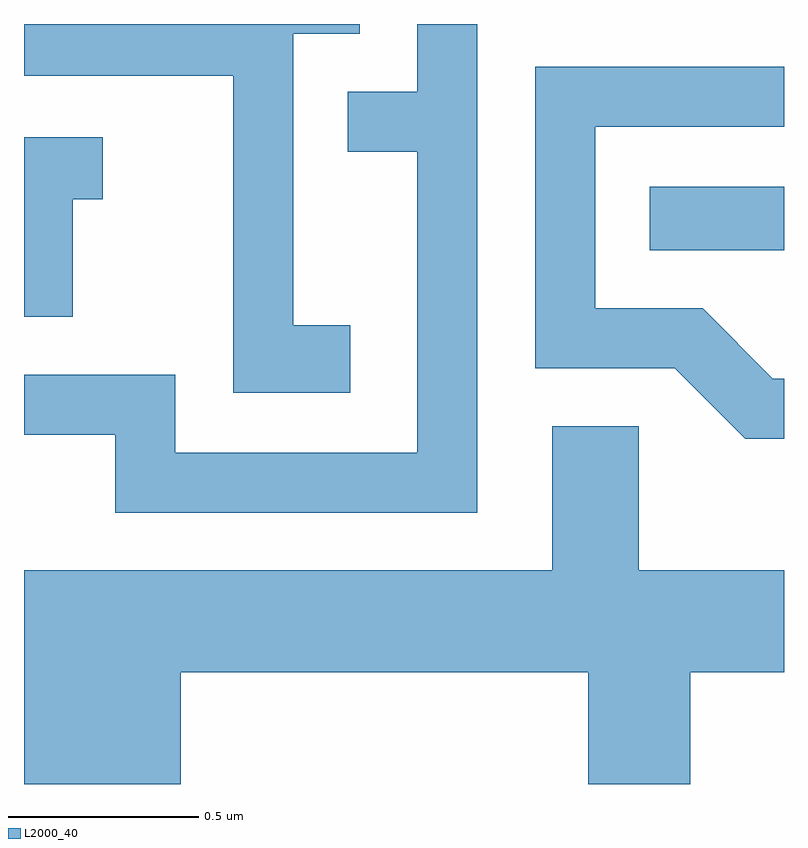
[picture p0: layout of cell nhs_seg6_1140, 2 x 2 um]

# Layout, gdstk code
import gdstk
lib = gdstk.Library(unit=1e-6, precision=1e-09)
def R(c, l, rs):  # rectangles x0, y0, x1, y1
    for r in rs: c.add(gdstk.rectangle(r[:2], r[2:], *l))
def P(c, l, *ps):  # polygons
    for p in ps: c.add(gdstk.Polygon(p, *l))
L2000_40 = (2000, 40)

nhs_seg6_1140 = lib.new_cell('nhs_seg6_1140')
R(nhs_seg6_1140, L2000_40, [(195.258,1575.566,195.611,1575.734)])
P(nhs_seg6_1140, L2000_40, [(194.804,1576.162),(194.646,1576.162),(194.646,1575.984),(194.463,1575.984),(194.463,1575.826),(194.646,1575.826),(194.646,1575.034),(194.009,1575.034),(194.009,1575.239),(193.611,1575.239),(193.611,1575.081),(193.851,1575.081),(193.851,1574.876),(194.804,1574.876)],
  [(194.469,1575.369),(194.319,1575.369),(194.319,1576.136),(194.494,1576.136),(194.494,1576.162),(193.611,1576.162),(193.611,1576.026),(194.161,1576.026),(194.161,1575.191),(194.469,1575.191)],
  [(195.611,1575.229),(195.582,1575.229),(195.397,1575.414),(195.114,1575.414),(195.114,1575.891),(195.611,1575.891),(195.611,1576.049),(194.956,1576.049),(194.956,1575.256),(195.324,1575.256),(195.509,1575.071),(195.611,1575.071)],
  [(193.739,1575.701),(193.818,1575.701),(193.818,1575.864),(193.611,1575.864),(193.611,1575.391),(193.739,1575.391)],
  [(194.024,1574.456),(195.096,1574.456),(195.096,1574.162),(195.364,1574.162),(195.364,1574.456),(195.611,1574.456),(195.611,1574.724),(195.229,1574.724),(195.229,1575.104),(195.001,1575.104),(195.001,1574.724),(193.611,1574.724),(193.611,1574.162),(194.024,1574.162)])

lib.write_gds('nhs_seg6_1140.gds')
